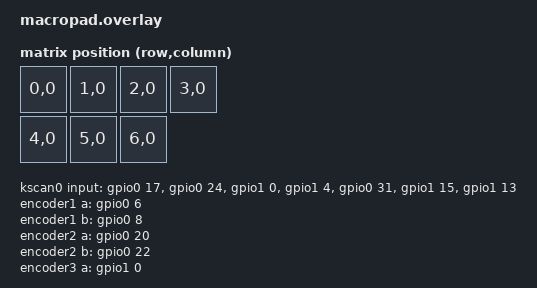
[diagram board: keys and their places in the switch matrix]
#include <dt-bindings/zmk/matrix_transform.h>
#include <physical_layouts.dtsi>

/ {
    chosen {
        zmk,kscan = &kscan0;
        zmk,physical-layout = &default_layout;
    };

    default_transform: keymap_transform_0 {
        compatible = "zmk,matrix-transform";
        columns = <1>;
        rows = <7>;
        map = <
            RC(0,0) RC(1,0) RC(2,0) RC(3,0)
            RC(4,0) RC(5,0) RC(6,0)
        >;
    };

    default_layout: default_layout {
        compatible = "zmk,physical-layout";
        display-name = "Default";
        transform = <&default_transform>;
        kscan = <&kscan0>;
        keys
            = <&key_physical_attrs 100 100 0   0   0 0 0>
            , <&key_physical_attrs 100 100 100 0   0 0 0>
            , <&key_physical_attrs 100 100 200 0   0 0 0>
            , <&key_physical_attrs 100 100 300 0   0 0 0>
            , <&key_physical_attrs 100 100 0   100 0 0 0>
            , <&key_physical_attrs 100 100 100 100 0 0 0>
            , <&key_physical_attrs 100 100 200 100 0 0 0>
            ;
    };

    kscan0: kscan {
        compatible = "zmk,kscan-gpio-direct";
        input-gpios
            = <&gpio0 17 (GPIO_ACTIVE_LOW | GPIO_PULL_UP)>
            , <&gpio0 24 (GPIO_ACTIVE_LOW | GPIO_PULL_UP)>
            , <&gpio1 0 (GPIO_ACTIVE_LOW | GPIO_PULL_UP)>
            , <&gpio1 4 (GPIO_ACTIVE_LOW | GPIO_PULL_UP)>
            , <&gpio0 31 (GPIO_ACTIVE_LOW | GPIO_PULL_UP)>
            , <&gpio1 15 (GPIO_ACTIVE_LOW | GPIO_PULL_UP)>
            , <&gpio1 13 (GPIO_ACTIVE_LOW | GPIO_PULL_UP)>
            ;
    };

    sensors: sensors {
        compatible = "zmk,keymap-sensors";
        sensors = <&encoder1 &encoder2 &encoder3 &encoder4>;
        triggers-per-rotation = <20>;
    };

    encoder1: encoder1 {
        compatible = "alps,ec11";
        a-gpios = <&gpio0 6 (GPIO_ACTIVE_HIGH | GPIO_PULL_UP)>;
        b-gpios = <&gpio0 8 (GPIO_ACTIVE_HIGH | GPIO_PULL_UP)>;
        steps = <80>;
        status = "okay";
    };

    encoder2: encoder2 {
        compatible = "alps,ec11";
        a-gpios = <&gpio0 20 (GPIO_ACTIVE_HIGH | GPIO_PULL_UP)>;
        b-gpios = <&gpio0 22 (GPIO_ACTIVE_HIGH | GPIO_PULL_UP)>;
        steps = <80>;
        status = "okay";
    };

    encoder3: encoder3 {
        compatible = "alps,ec11";
        a-gpios = <&gpio1 0 (GPIO_ACTIVE_HIGH | GPIO_PULL_UP)>;
        b-gpios = <&gpio0 11 (GPIO_ACTIVE_HIGH | GPIO_PULL_UP)>;
        steps = <80>;
        status = "okay";
    };

    encoder4: encoder4 {
        compatible = "alps,ec11";
        a-gpios = <&gpio1 6 (GPIO_ACTIVE_HIGH | GPIO_PULL_UP)>;
        b-gpios = <&gpio0 2 (GPIO_ACTIVE_HIGH | GPIO_PULL_UP)>;
        steps = <80>;
        status = "okay";
    };
};
